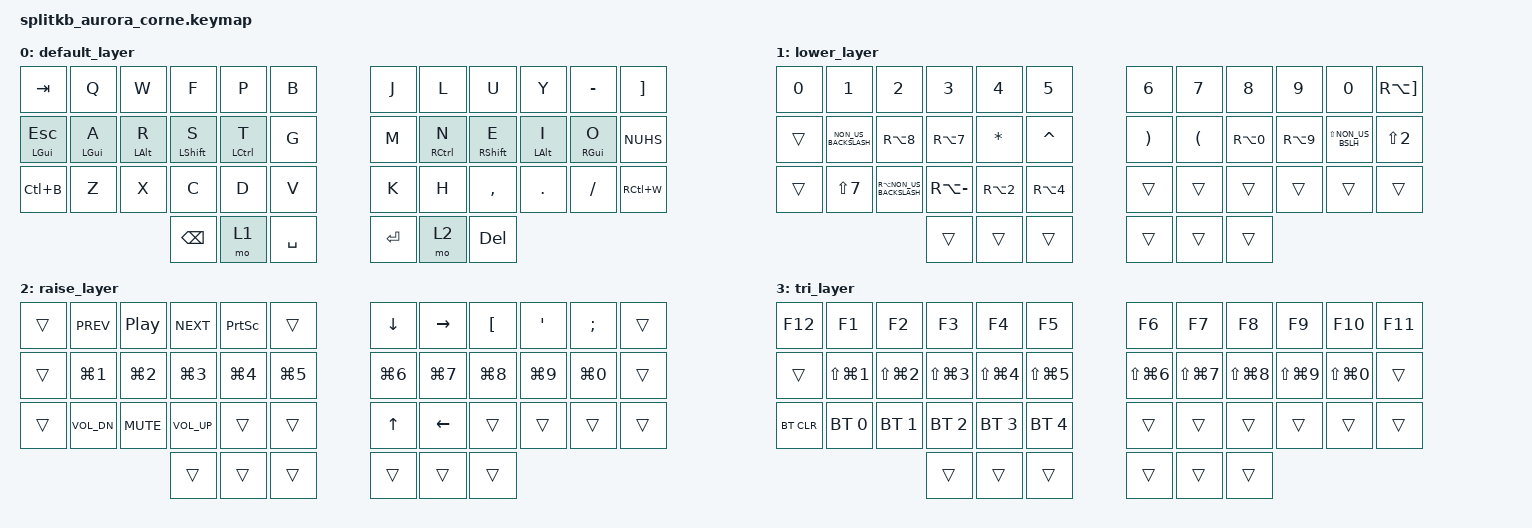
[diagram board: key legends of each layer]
#include <behaviors.dtsi>
#include <dt-bindings/zmk/bt.h>
#include <dt-bindings/zmk/keys.h>

#define FSLASH  LS(N7)
#define RPIPE   RA(NON_US_BACKSLASH)
#define BSLASH  RA(MINUS)
#define LESSTH  NON_US_BACKSLASH
#define LBRACK  RA(N8)
#define LBRACE  RA(N7)
#define LPAREN  ASTERISK
#define AMPERS  CARET
#define EQUALS  RPAR
#define RPAREN  LPAR
#define RBRACK  RA(N0)
#define RBRACE  RA(N9)
#define GRTHAN  LS(NON_US_BSLH)
#define RTILDE  RA(RBKT)
#define AO      LEFT_BRACKET
#define AE      SQT
#define OE      SEMICOLON
#define AT      RA(N2)
#define DOLLAR  RA(N4)

/ {
    behaviors {
        hmr: hmr {
            compatible = "zmk,behavior-hold-tap";
            label = "HMR";
            bindings = <&kp>, <&kp>;

            #binding-cells = <2>;
            tapping-term-ms = <200>;
            quick-tap-ms = <175>;
            flavor = "balanced";
            hold-trigger-key-positions = <0 1 2 3 4 5 12 13 14 15 16 17 24 25 26 27 28 29 36 37 38 39 40 41>;
            hold-trigger-on-release;
        };

        hml: hml {
            compatible = "zmk,behavior-hold-tap";
            label = "HML";
            bindings = <&kp>, <&kp>;

            #binding-cells = <2>;
            tapping-term-ms = <200>;
            quick-tap-ms = <175>;
            flavor = "balanced";
            hold-trigger-key-positions = <6 7 8 9 10 11 18 19 20 21 22 23 30 31 32 33 34 35 39 40 41 36 37 38>;
            hold-trigger-on-release;
        };
    };

    keymap {
        compatible = "zmk,keymap";

        default_layer {
            // -----------------------------------------------------------------------------------------
            // | TAB |  Q  |  W  |  F  |  P  |  B  |         |  J  |  L   |  U  |  Y  |  +  |  ¨  |
            // | ESC |  A  |  R  |  S  |  T  |  G  |         |  M  |  N   |  E  |  I  |  O  |  '  |
            // | C-B |  Z  |  X  |  C  |  D  |  V  |         |  K  |  H   |  ,  |  .  |  -  | C-W |
            //                   | BKS | LWR | SPC |         | ENT | RSE  | DEL |

            bindings = <
&kp TAB        &kp Q        &kp W        &kp F          &kp P         &kp B        &kp J    &kp L         &kp U          &kp Y        &kp MINUS    &kp RBKT
&hml LGUI ESC  &hml LGUI A  &hml LALT R  &hml LSHIFT S  &hml LCTRL T  &kp G        &kp M    &hmr RCTRL N  &hmr RSHIFT E  &hmr LALT I  &hmr RGUI O  &kp NUHS
&kp LC(B)      &kp Z        &kp X        &kp C          &kp D         &kp V        &kp K    &kp H         &kp COMMA      &kp PERIOD   &kp FSLH     &kp RC(W)
                                         &kp BACKSPACE  &mo 1         &kp SPACE    &kp RET  &mo 2         &kp DELETE
            >;
        };

        lower_layer {
            // -----------------------------------------------------------------------------------------
            // |  0  |  1  |  2  |  3  |  4  |  5  |         |  6  |  7  |  8  |  9  |  0  |  ~  |
            // |     |  <  |  [  |  {  |  (  |  &  |         |  =  |  )  |  }  |  ]  |  >  |  "  |
            // |     |  /  |  |  |  \  |     |     |         |     |     |     |     |     |     |
            //                   |     |     |     |         |     |     |     |

            bindings = <
&kp N0  &kp N1      &kp N2      &kp N3      &kp N4      &kp N5      &kp N6      &kp N7      &kp N8      &kp N9      &kp N0      &kp RTILDE
&trans  &kp LESSTH  &kp LBRACK  &kp LBRACE  &kp LPAREN  &kp AMPERS  &kp EQUALS  &kp RPAREN  &kp RBRACK  &kp RBRACE  &kp GRTHAN  &kp LS(N2)
&trans  &kp FSLASH  &kp RPIPE   &kp BSLASH  &kp AT      &kp DOLLAR  &trans      &trans      &trans      &trans      &trans      &trans
                                &trans      &trans      &trans      &trans      &trans      &trans
            >;
        };

        raise_layer {
            // -----------------------------------------------------------------------------------------
            // |     |  <  | PSE |  >  |PSCRN|     |         |  v  |  >  |  Å  |  Ä  |  Ö  |     |
            // |     |     |     |     |     |     |         |     |     |     |     |     |     |
            // |     |  v  |  M  |  ^  |     |     |         |  ^  |  <  |     |     |     |     |
            //                   |     |     |     |         |     |     |     |

            bindings = <
&trans  &kp C_PREV  &kp C_PP    &kp C_NEXT  &kp PSCRN   &trans      &kp DOWN    &kp RIGHT   &kp AO      &kp AE      &kp OE      &trans
&trans  &kp LG(N1)  &kp LG(N2)  &kp LG(N3)  &kp LG(N4)  &kp LG(N5)  &kp LG(N6)  &kp LG(N7)  &kp LG(N8)  &kp LG(N9)  &kp LG(N0)  &trans
&trans  &kp C_VOL_DN &kp C_MUTE &kp C_VOL_UP &trans     &trans      &kp UP      &kp LEFT    &trans      &trans      &trans      &trans
                                &trans      &trans      &trans      &trans      &trans      &trans
            >;
        };

        tri_layer {
            // -----------------------------------------------------------------------------------------
            // | F12 | F01 | F02 | F03 | F04 | F05 |         | F06 | F07  | F08 | F09 | F10 | F11 |
            // |     |     |     |     |     |     |         |     |      |     |     |     |     |
            // | BTC | BT0 | BT1 | BT2 | BT3 | BT4 |         |     |      |     |     |     |     |
            //                   |     |     |     |         |     |      |     |
            bindings = <
&kp F12     &kp F1          &kp F2          &kp F3          &kp F4          &kp F5          &kp F6          &kp F7          &kp F8          &kp F9          &kp F10         &kp F11
&trans      &kp LS(LG(N1))  &kp LS(LG(N2))  &kp LS(LG(N3))  &kp LS(LG(N4))  &kp LS(LG(N5))  &kp LS(LG(N6))  &kp LS(LG(N7))  &kp LS(LG(N8))  &kp LS(LG(N9))  &kp LS(LG(N0))  &trans
&bt BT_CLR  &bt BT_SEL 0    &bt BT_SEL 1    &bt BT_SEL 2    &bt BT_SEL 3    &bt BT_SEL 4    &trans          &trans          &trans          &trans          &trans          &trans
                                            &trans          &trans          &trans          &trans          &trans          &trans
            >;
        };
    };

    conditional_layers {
        compatible = "zmk,conditional-layers";

        tri_layer {
            if-layers = <1 2>;
            then-layer = <3>;
        };
    };
};
